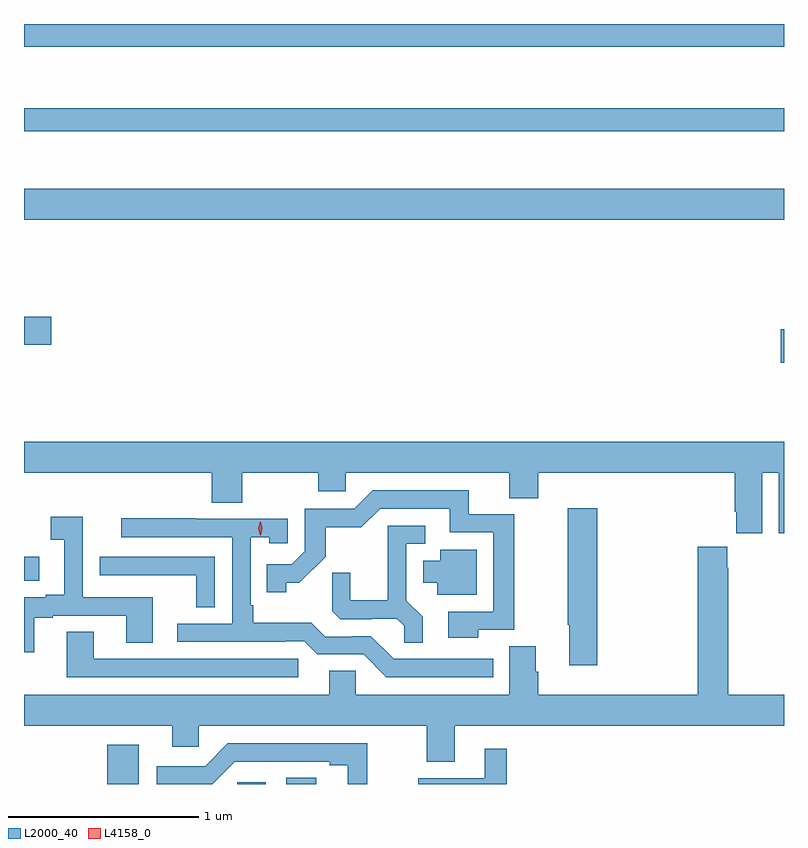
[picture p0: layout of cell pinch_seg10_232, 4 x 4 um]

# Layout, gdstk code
import gdstk
lib = gdstk.Library(unit=1e-6, precision=1e-09)
def R(c, l, rs):  # rectangles x0, y0, x1, y1
    for r in rs: c.add(gdstk.rectangle(r[:2], r[2:], *l))
def P(c, l, *ps):  # polygons
    for p in ps: c.add(gdstk.Polygon(p, *l))
L2000_40 = (2000, 40)
L4158_0 = (4158, 0)

pinch_seg10_232 = lib.new_cell('pinch_seg10_232')
R(pinch_seg10_232, L2000_40, [(613.58,1315.994,613.744,1316.2), (614.263,1315.994,614.413,1316.002), (614.52,1315.994,614.68,1316.027), (613.141,1317.065,613.222,1317.189), (617.124,1318.21,617.141,1318.388), (613.141,1318.307,613.285,1318.454), (613.141,1318.964,617.141,1319.128), (613.141,1319.43,617.141,1319.551), (613.141,1319.874,617.141,1319.994)])
P(pinch_seg10_232, L2000_40, [(617.026,1317.632),(617.114,1317.632),(617.114,1317.315),(617.141,1317.315),(617.141,1317.796),(613.141,1317.796),(613.141,1317.632),(614.129,1317.632),(614.129,1317.475),(614.289,1317.475),(614.289,1317.632),(614.689,1317.632),(614.689,1317.534),(614.835,1317.534),(614.835,1317.632),(615.695,1317.632),(615.695,1317.499),(615.848,1317.499),(615.848,1317.632),(616.883,1317.632),(616.883,1317.427),(616.889,1317.427),(616.889,1317.315),(617.026,1317.315)],
  [(615.531,1316.805),(615.721,1316.805),(615.721,1317.414),(615.482,1317.414),(615.482,1317.54),(614.976,1317.54),(614.88,1317.444),(614.619,1317.444),(614.619,1317.219),(614.55,1317.15),(614.419,1317.15),(614.419,1317.003),(614.52,1317.003),(614.52,1317.053),(614.59,1317.053),(614.728,1317.19),(614.728,1317.346),(614.917,1317.346),(615.015,1317.444),(615.383,1317.444),(615.383,1317.318),(615.612,1317.318),(615.612,1316.901),(615.375,1316.901),(615.375,1316.765),(615.531,1316.765)],
  [(616.157,1317.445),(616.003,1317.445),(616.003,1316.831),(616.01,1316.831),(616.01,1316.619),(616.157,1316.619)],
  [(613.195,1316.868),(613.291,1316.868),(613.291,1316.88),(613.679,1316.88),(613.679,1316.737),(613.819,1316.737),(613.819,1316.976),(613.449,1316.976),(613.449,1317.4),(613.281,1317.4),(613.281,1317.28),(613.352,1317.28),(613.352,1316.989),(613.256,1316.989),(613.256,1316.976),(613.141,1316.976),(613.141,1316.688),(613.195,1316.688)],
  [(615.61,1316.652),(615.087,1316.652),(614.967,1316.772),(614.866,1316.772),(614.866,1316.769),(614.727,1316.769),(614.654,1316.842),(614.347,1316.842),(614.347,1316.935),(614.334,1316.935),(614.334,1317.293),(614.433,1317.293),(614.433,1317.261),(614.529,1317.261),(614.529,1317.39),(614.045,1317.39),(614.045,1317.393),(613.653,1317.393),(613.653,1317.294),(614.238,1317.294),(614.238,1316.838),(613.947,1316.838),(613.947,1316.742),(614.516,1316.742),(614.516,1316.745),(614.616,1316.745),(614.685,1316.676),(614.928,1316.676),(615.048,1316.556),(615.61,1316.556)],
  [(615.239,1316.873),(615.153,1316.959),(615.153,1317.258),(615.253,1317.258),(615.253,1317.354),(615.056,1317.354),(615.056,1316.962),(614.858,1316.962),(614.858,1317.105),(614.764,1317.105),(614.764,1316.903),(614.805,1316.862),(614.97,1316.862),(614.97,1316.865),(615.104,1316.865),(615.141,1316.828),(615.141,1316.737),(615.239,1316.737)],
  [(615.409,1316.3),(617.141,1316.3),(617.141,1316.464),(616.848,1316.464),(616.848,1317.131),(616.843,1317.131),(616.843,1317.244),(616.688,1317.244),(616.688,1316.464),(615.848,1316.464),(615.848,1316.586),(615.835,1316.586),(615.835,1316.72),(615.695,1316.72),(615.695,1316.464),(614.886,1316.464),(614.886,1316.591),(614.747,1316.591),(614.747,1316.464),(613.141,1316.464),(613.141,1316.3),(613.922,1316.3),(613.922,1316.19),(614.061,1316.19),(614.061,1316.3),(615.262,1316.3),(615.262,1316.11),(615.409,1316.11)],
  [(615.523,1317.226),(615.332,1317.226),(615.332,1317.169),(615.242,1317.169),(615.242,1317.053),(615.317,1317.053),(615.317,1316.99),(615.523,1316.99)],
  [(614.145,1317.189),(613.539,1317.189),(613.539,1317.094),(613.651,1317.094),(613.651,1317.093),(614.047,1317.093),(614.047,1316.923),(614.145,1316.923)],
  [(614.584,1316.652),(613.507,1316.652),(613.507,1316.795),(613.367,1316.795),(613.367,1316.556),(614.584,1316.556)],
  [(614.25,1316.112),(614.75,1316.112),(614.75,1316.092),(614.846,1316.092),(614.846,1315.994),(614.948,1315.994),(614.948,1316.208),(614.214,1316.208),(614.094,1316.088),(613.839,1316.088),(613.839,1315.994),(614.132,1315.994)],
  [(615.683,1316.179),(615.566,1316.179),(615.566,1316.025),(615.217,1316.025),(615.217,1315.994),(615.683,1315.994)])
P(pinch_seg10_232, L4158_0, [(614.385,1317.303),(614.385,1317.303),(614.375,1317.339),(614.385,1317.375),(614.385,1317.375),(614.386,1317.375),(614.395,1317.339),(614.386,1317.303)])

lib.write_gds('pinch_seg10_232.gds')
